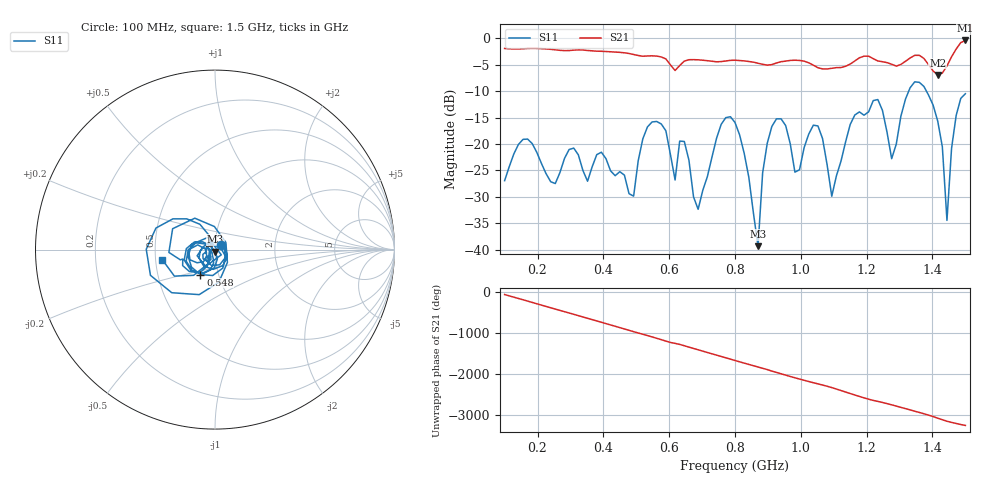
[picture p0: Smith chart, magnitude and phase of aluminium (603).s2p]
! NanoVNA-App
! Date: 2025-09-25 14:59:58
! Start: 100MHz Stop: 1,5GHz Points: 101
! S-Parameter data: F S11 S21 S12 S22
# Hz S RI R 50
!  Frequency  S11_Real  S11_Imag  S21_Real  S21_Imag  S12_Real  S12_Imag  S22_Real  S22_Imag
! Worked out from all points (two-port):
!   101 points, 100 MHz to 1.5 GHz, reference 50 ohm
!   highest |S21| = -0.40 dB at 1.5 GHz (marker M1); lowest = -6.9 dB at 1.416 GHz (marker M2)
!   |S21| within 3 dB of the highest: start of sweep to 565.7 MHz; 1.459 GHz to end of sweep (the widest 2 of 4)
!   lowest |S11| = -39.4 dB at 870 MHz (marker M3), VSWR 1.02, Z = 50.2 - j1.07 ohm
!   |S11| at or under -10 dB: start of sweep to 1.328 GHz; 1.382 GHz to end of sweep
!   S12 and S22 are empty: the file has one direction only
!   S11 on the Smith chart (normalised r, x): 100 MHz: 1.07, +0.06; 548 MHz: 0.82, -0.23; 1.5 GHz: 0.54, -0.07
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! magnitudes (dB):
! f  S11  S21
! 100 MHz  -27.0  -1.9
! 156 MHz  -19.1  -2.0
! 338 MHz  -25.0  -2.2
! 492 MHz  -29.9  -3.1
! 548 MHz  -15.8  -3.3
! 576 MHz  -16.2  -3.5
! 618 MHz  -26.8  -6.1
! 646 MHz  -19.5  -4.3
! 688 MHz  -32.4  -4.1
! 800 MHz  -15.9  -4.1
! 870 MHz  -39.4  -4.7
! 912 MHz  -16.7  -5.0
! 982 MHz  -25.3  -4.1
! 1.038 GHz  -16.4  -5.1
! 1.094 GHz  -29.9  -5.7
! 1.22 GHz  -11.8  -3.8
! 1.276 GHz  -22.8  -4.9
! 1.346 GHz  -8.2  -3.2
! 1.416 GHz  -15.7  -6.9
! 1.444 GHz  -34.5  -5.2
! 1.472 GHz  -14.6  -2.0
! 1.5 GHz  -10.5  -0.4
